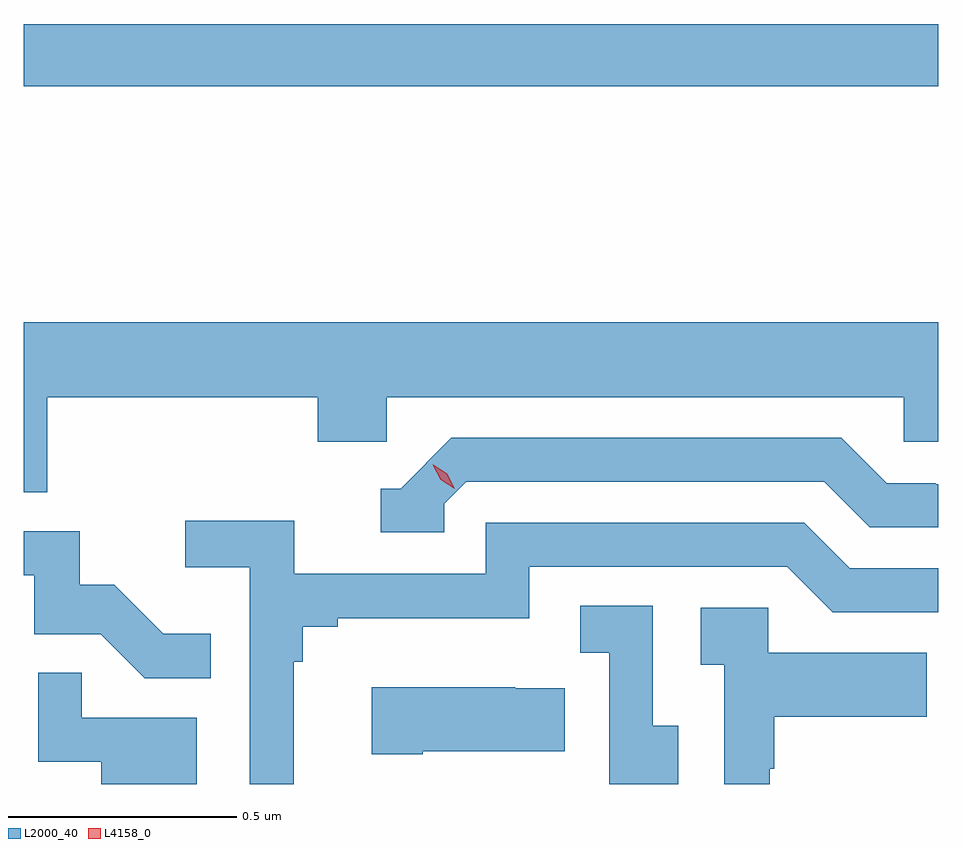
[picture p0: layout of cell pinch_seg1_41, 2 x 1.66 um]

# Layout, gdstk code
import gdstk
lib = gdstk.Library(unit=1e-6, precision=1e-09)
def R(c, l, rs):  # rectangles x0, y0, x1, y1
    for r in rs: c.add(gdstk.rectangle(r[:2], r[2:], *l))
def P(c, l, *ps):  # polygons
    for p in ps: c.add(gdstk.Polygon(p, *l))
L2000_40 = (2000, 40)
L4158_0 = (4158, 0)

pinch_seg1_41 = lib.new_cell('pinch_seg1_41')
R(pinch_seg1_41, L2000_40, [(1090.624,568.396,1092.624,568.532)])
P(pinch_seg1_41, L2000_40, [(1090.624,567.508),(1090.676,567.508),(1090.676,567.716),(1091.267,567.716),(1091.267,567.618),(1091.418,567.618),(1091.418,567.716),(1092.549,567.716),(1092.549,567.618),(1092.624,567.618),(1092.624,567.88),(1090.624,567.88)],
  [(1091.544,567.483),(1091.592,567.531),(1092.375,567.531),(1092.474,567.432),(1092.624,567.432),(1092.624,567.525),(1092.618,567.525),(1092.618,567.528),(1092.511,567.528),(1092.412,567.627),(1091.559,567.627),(1091.448,567.516),(1091.405,567.516),(1091.405,567.42),(1091.544,567.42)],
  [(1091.215,567.137),(1091.234,567.137),(1091.234,567.214),(1091.311,567.214),(1091.311,567.233),(1091.73,567.233),(1091.73,567.345),(1092.294,567.345),(1092.393,567.246),(1092.624,567.246),(1092.624,567.342),(1092.43,567.342),(1092.331,567.441),(1091.634,567.441),(1091.634,567.33),(1091.216,567.33),(1091.216,567.446),(1090.977,567.446),(1090.977,567.344),(1091.118,567.344),(1091.118,566.87),(1091.215,566.87)],
  [(1091.033,567.199),(1090.929,567.199),(1090.822,567.306),(1090.746,567.306),(1090.746,567.423),(1090.624,567.423),(1090.624,567.327),(1090.647,567.327),(1090.647,567.198),(1090.792,567.198),(1090.889,567.101),(1091.033,567.101)],
  [(1092.055,566.997),(1092,566.997),(1092,567.26),(1091.841,567.26),(1091.841,567.157),(1091.904,567.157),(1091.904,566.87),(1092.055,566.87)],
  [(1092.255,566.903),(1092.265,566.903),(1092.265,567.017),(1092.599,567.017),(1092.599,567.157),(1092.252,567.157),(1092.252,567.255),(1092.105,567.255),(1092.105,567.131),(1092.156,567.131),(1092.156,566.87),(1092.255,566.87)],
  [(1091.002,567.015),(1090.751,567.015),(1090.751,567.113),(1090.656,567.113),(1090.656,566.919),(1090.793,566.919),(1090.793,566.87),(1091.002,566.87)],
  [(1091.497,566.942),(1091.807,566.942),(1091.807,567.079),(1091.699,567.079),(1091.699,567.082),(1091.385,567.082),(1091.385,566.935),(1091.497,566.935)])
P(pinch_seg1_41, L4158_0, [(1091.567,567.516),(1091.536,567.535),(1091.519,567.568),(1091.519,567.568),(1091.52,567.568),(1091.55,567.549),(1091.567,567.516),(1091.567,567.516)])

lib.write_gds('pinch_seg1_41.gds')
